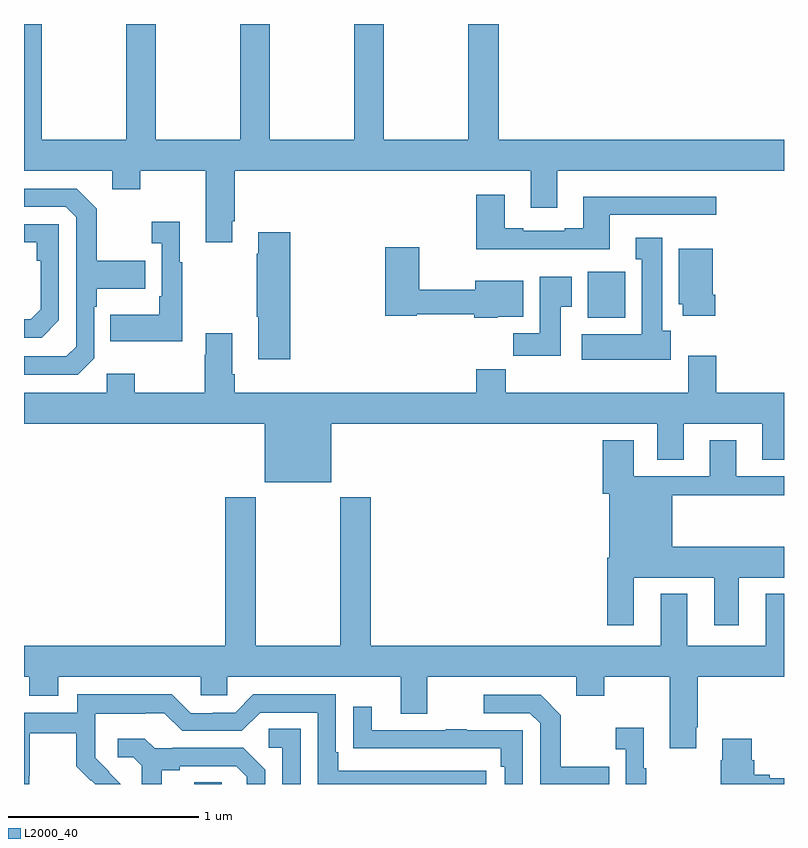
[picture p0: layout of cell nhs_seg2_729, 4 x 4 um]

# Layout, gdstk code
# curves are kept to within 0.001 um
import gdstk
lib = gdstk.Library(unit=1e-6, precision=1e-09)
def R(c, l, rs):  # rectangles x0, y0, x1, y1
    for r in rs: c.add(gdstk.rectangle(r[:2], r[2:], *l))
def P(c, l, *ps):  # polygons
    for p in ps: c.add(gdstk.Polygon(p, *l))
L2000_40 = (2000, 40)

nhs_seg2_729 = lib.new_cell('nhs_seg2_729')
R(nhs_seg2_729, L2000_40, [(149.897,585.8,150.042,585.809), (151.967,588.254,152.164,588.496)])
P(nhs_seg2_729, L2000_40, [(150.097,588.763),(150.11,588.763),(150.11,589.028),(151.667,589.028),(151.667,588.834),(151.807,588.834),(151.807,589.028),(153,589.028),(153,589.192),(151.499,589.192),(151.499,589.8),(151.339,589.8),(151.339,589.192),(150.894,589.192),(150.894,589.8),(150.739,589.8),(150.739,589.192),(150.294,589.192),(150.294,589.8),(150.139,589.8),(150.139,589.192),(149.694,589.192),(149.694,589.8),(149.539,589.8),(149.539,589.192),(149.094,589.192),(149.094,589.8),(149,589.8),(149,589.028),(149.465,589.028),(149.465,588.929),(149.613,588.929),(149.613,589.028),(149.957,589.028),(149.957,588.651),(150.097,588.651)],
  [(149.37,588.042),(149.37,588.311),(149.383,588.311),(149.383,588.407),(149.639,588.407),(149.639,588.555),(149.383,588.555),(149.383,588.827),(149.277,588.933),(149,588.933),(149,588.837),(149.22,588.837),(149.274,588.783),(149.274,588.102),(149.223,588.051),(149,588.051),(149,587.955),(149.283,587.955)],
  [(152.083,588.795),(152.644,588.795),(152.644,588.892),(151.943,588.892),(151.943,588.724),(151.847,588.724),(151.847,588.711),(151.627,588.711),(151.627,588.724),(151.531,588.724),(151.531,588.901),(151.379,588.901),(151.379,588.614),(152.083,588.614)],
  [(149.833,588.547),(149.821,588.547),(149.821,588.76),(149.673,588.76),(149.673,588.647),(149.724,588.647),(149.724,588.367),(149.712,588.367),(149.712,588.271),(149.455,588.271),(149.455,588.131),(149.833,588.131)],
  [(149.184,588.24),(149.184,588.747),(149,588.747),(149,588.651),(149.068,588.651),(149.068,588.554),(149.088,588.554),(149.088,588.3),(149.035,588.247),(149,588.247),(149,588.15),(149.094,588.15)],
  [(150.401,588.703),(150.233,588.703),(150.233,588.59),(150.226,588.59),(150.226,588.259),(150.233,588.259),(150.233,588.036),(150.401,588.036)],
  [(152.404,588.186),(152.359,588.186),(152.359,588.676),(152.219,588.676),(152.219,588.563),(152.252,588.563),(152.252,588.166),(151.935,588.166),(151.935,588.032),(152.404,588.032)],
  [(151.494,588.26),(151.627,588.26),(151.627,588.448),(151.376,588.448),(151.376,588.401),(151.08,588.401),(151.08,588.625),(150.902,588.625),(150.902,588.265),(151.068,588.265),(151.068,588.273),(151.369,588.273),(151.369,588.254),(151.494,588.254)],
  [(152.639,588.376),(152.626,588.376),(152.626,588.616),(152.447,588.616),(152.447,588.324),(152.468,588.324),(152.468,588.264),(152.639,588.264)],
  [(151.825,588.313),(151.882,588.313),(151.882,588.469),(151.715,588.469),(151.715,588.172),(151.576,588.172),(151.576,588.054),(151.825,588.054)],
  [(150.616,587.696),(152.333,587.696),(152.333,587.506),(152.473,587.506),(152.473,587.696),(152.885,587.696),(152.885,587.506),(153,587.506),(153,587.86),(152.643,587.86),(152.643,588.055),(152.495,588.055),(152.495,587.86),(151.535,587.86),(151.535,587.984),(151.379,587.984),(151.379,587.86),(150.11,587.86),(150.11,587.956),(150.097,587.956),(150.097,588.172),(149.957,588.172),(149.957,588.059),(149.95,588.059),(149.95,587.86),(149.583,587.86),(149.583,587.959),(149.436,587.959),(149.436,587.86),(149,587.86),(149,587.696),(150.266,587.696),(150.266,587.387),(150.616,587.387)],
  [(152.209,586.886),(152.633,586.886),(152.633,586.635),(152.761,586.635),(152.761,586.886),(153,586.886),(153,587.05),(152.413,587.05),(152.413,587.32),(153,587.32),(153,587.421),(152.749,587.421),(152.749,587.608),(152.609,587.608),(152.609,587.421),(152.209,587.421),(152.209,587.608),(152.045,587.608),(152.045,587.328),(152.081,587.328),(152.081,586.99),(152.069,586.99),(152.069,586.635),(152.209,586.635)],
  [(152.539,586.099),(152.547,586.099),(152.547,586.364),(153,586.364),(153,586.801),(152.903,586.801),(152.903,586.528),(152.491,586.528),(152.491,586.801),(152.351,586.801),(152.351,586.528),(150.824,586.528),(150.824,587.308),(150.664,587.308),(150.664,586.528),(150.219,586.528),(150.219,587.308),(150.059,587.308),(150.059,586.528),(149,586.528),(149,586.364),(149.027,586.364),(149.027,586.265),(149.179,586.265),(149.179,586.364),(149.931,586.364),(149.931,586.266),(150.069,586.266),(150.069,586.364),(150.983,586.364),(150.983,586.17),(151.123,586.17),(151.123,586.364),(151.907,586.364),(151.907,586.265),(152.055,586.265),(152.055,586.364),(152.399,586.364),(152.399,585.987),(152.539,585.987)],
  [(149.028,585.844),(149.031,585.844),(149.031,586.068),(149.275,586.068),(149.275,585.893),(149.352,585.816),(149.355,585.819),(149.374,585.8),(149.51,585.8),(149.374,585.938),(149.374,586.035),(149.376,586.035),(149.376,586.169),(149.639,586.169),(149.639,586.173),(149.739,586.173),(149.832,586.08),(150.147,586.08),(150.243,586.176),(150.546,586.176),(150.546,585.8),(151.432,585.8),(151.432,585.87),(150.655,585.87),(150.655,585.967),(150.642,585.967),(150.642,586.272),(150.207,586.272),(150.111,586.176),(149.993,586.176),(149.993,586.173),(149.877,586.173),(149.777,586.273),(149.28,586.273),(149.28,586.176),(149,586.176),(149,585.8),(149.028,585.8)],
  [(152.081,585.891),(151.825,585.891),(151.825,586.163),(151.719,586.269),(151.419,586.269),(151.419,586.173),(151.662,586.173),(151.716,586.119),(151.716,585.8),(152.081,585.8)],
  [(151.626,586.083),(151.331,586.083),(151.331,586.088),(151.219,586.088),(151.219,586.083),(150.829,586.083),(150.829,586.207),(150.733,586.207),(150.733,585.988),(150.835,585.988),(150.835,585.987),(151.51,585.987),(151.51,585.89),(151.53,585.89),(151.53,585.8),(151.626,585.8)],
  [(152.275,585.883),(152.263,585.883),(152.263,586.096),(152.115,586.096),(152.115,585.983),(152.166,585.983),(152.166,585.8),(152.275,585.8)],
  [(150.456,586.091),(150.288,586.091),(150.288,585.99),(150.36,585.99),(150.36,585.8),(150.456,585.8)],
  [(149.725,585.872),(149.821,585.872),(149.821,585.894),(150.116,585.894),(150.173,585.837),(150.173,585.8),(150.27,585.8),(150.27,585.874),(150.154,585.99),(149.782,585.99),(149.782,585.987),(149.688,585.987),(149.636,586.039),(149.493,586.039),(149.493,585.942),(149.574,585.942),(149.621,585.895),(149.621,585.8),(149.725,585.8)],
  [(153,585.829),(152.926,585.829),(152.926,585.848),(152.843,585.848),(152.843,585.926),(152.83,585.926),(152.83,586.039),(152.675,586.039),(152.675,585.926),(152.668,585.926),(152.668,585.8),(153,585.8)])

lib.write_gds('nhs_seg2_729.gds')
